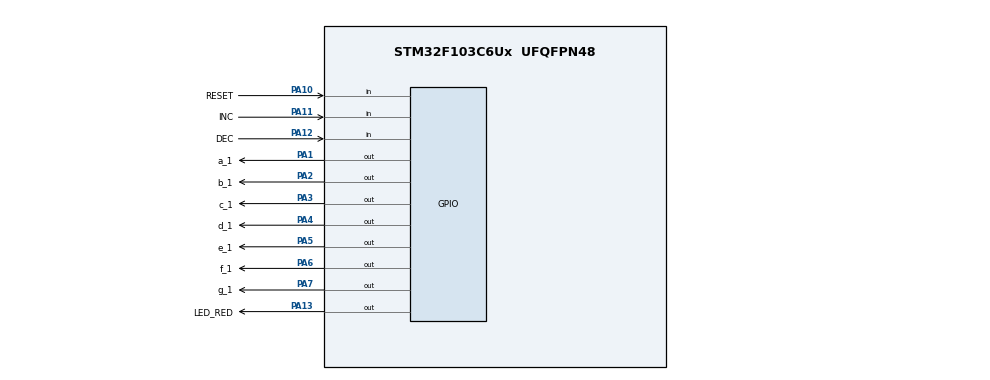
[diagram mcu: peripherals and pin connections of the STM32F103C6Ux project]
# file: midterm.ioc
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Mcu.Family=STM32F1
Mcu.Name=STM32F103C6Ux
Mcu.Package=UFQFPN48
NVIC.PriorityGroup=NVIC_PRIORITYGROUP_4
NVIC.TIM2_IRQn=true\:0\:0\:false\:false\:true\:true\:true
PA1.GPIO_Label=a_1
PA1.Signal=GPIO_Output
PA10.GPIO_Label=RESET
PA10.GPIO_PuPd=GPIO_PULLUP
PA10.Signal=GPIO_Input
PA11.GPIO_Label=INC
PA11.GPIO_PuPd=GPIO_PULLUP
PA11.Signal=GPIO_Input
PA12.GPIO_Label=DEC
PA12.GPIO_PuPd=GPIO_PULLUP
PA12.Signal=GPIO_Input
PA13.GPIO_Label=LED_RED
PA13.Signal=GPIO_Output
PA2.GPIO_Label=b_1
PA2.Signal=GPIO_Output
PA3.GPIO_Label=c_1
PA3.Signal=GPIO_Output
PA4.GPIO_Label=d_1
PA4.Signal=GPIO_Output
PA5.GPIO_Label=e_1
PA5.Signal=GPIO_Output
PA6.GPIO_Label=f_1
PA6.Signal=GPIO_Output
PA7.GPIO_Label=g_1
PA7.Signal=GPIO_Output
ProjectManager.HeapSize=0x200
ProjectManager.StackSize=0x400
ProjectManager.TargetToolchain=STM32CubeIDE
RCC.APB1Freq_Value=8000000
RCC.APB2Freq_Value=8000000
TIM2.Period=9
TIM2.Prescaler=7999
VP_SYS_VS_ND.Mode=No_Debug
VP_TIM2_VS_ClockSourceINT.Mode=Internal
board=custom

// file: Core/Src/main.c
/* USER CODE BEGIN Header */
/**
  ******************************************************************************
  * @file           : main.c
  * @brief          : Main program body
  ******************************************************************************
  * @attention
  *
  * <h2><center>&copy; Copyright (c) 2022 STMicroelectronics.
  * All rights reserved.</center></h2>
  *
  * This software component is licensed by ST under BSD 3-Clause license,
  * the "License"; You may not use this file except in compliance with the
  * License. You may obtain a copy of the License at:
  *                        opensource.org/licenses/BSD-3-Clause
  *
  ******************************************************************************
  */
/* USER CODE END Header */
#include "main.h"

TIM_HandleTypeDef htim2;

void SystemClock_Config(void);
static void MX_GPIO_Init(void);
static void MX_TIM2_Init(void);

/* USER CODE BEGIN 0 */
void display7SEG (int num, GPIO_TypeDef * GPIO_TYPE, uint16_t a_Pin, uint16_t b_Pin, uint16_t c_Pin, uint16_t d_Pin, uint16_t e_Pin, uint16_t f_Pin, uint16_t g_Pin);
int get_input();
void fsm_simple_buttons_run();
int counter = 9;
int led_timer = 100;
int input_timer = 1;
int seg_led_timer = 1000;
int input_state_0 = 0;
int input_state_1 = 0;
int input_state_2 = 0;
int input_state_3 = 0;
int long_press_timer = 300;
int delay_to_count_down_time = 1000;
/* USER CODE END 0 */

int main(void)
{

  /* MCU Configuration--------------------------------------------------------*/

  /* Reset of all peripherals, Initializes the Flash interface and the Systick. */
  HAL_Init();

  /* Configure the system clock */
  SystemClock_Config();

  /* Initialize all configured peripherals */
  MX_GPIO_Init();
  MX_TIM2_Init();
  /* USER CODE BEGIN 2 */
  HAL_TIM_Base_Start_IT(&htim2) ;
  display7SEG(counter, GPIOA, a_1_Pin, b_1_Pin, c_1_Pin, d_1_Pin, e_1_Pin, f_1_Pin, g_1_Pin);
  /* USER CODE END 2 */

  /* Infinite loop */
  /* USER CODE BEGIN WHILE */
  while (1)
  {
	 if (input_timer == 0) {
		 fsm_simple_buttons_run();
	 }
	 if (delay_to_count_down_time == 0 && counter > 0) {
		 delay_to_count_down_time = 100;
		 display7SEG(counter, GPIOA, a_1_Pin, b_1_Pin, c_1_Pin, d_1_Pin, e_1_Pin, f_1_Pin, g_1_Pin);
		 counter--;
	 }
	 if (led_timer == 0) {
		 HAL_GPIO_TogglePin(GPIOA, LED_RED_Pin);
		 led_timer = 100;
	 }
    /* USER CODE END WHILE */

  }
}

void SystemClock_Config(void)
{
  RCC_OscInitTypeDef RCC_OscInitStruct = {0};
  RCC_ClkInitTypeDef RCC_ClkInitStruct = {0};

  /** Initializes the RCC Oscillators according to the specified parameters
  * in the RCC_OscInitTypeDef structure.
  */
  RCC_OscInitStruct.OscillatorType = RCC_OSCILLATORTYPE_HSI;
  RCC_OscInitStruct.HSIState = RCC_HSI_ON;
  RCC_OscInitStruct.HSICalibrationValue = RCC_HSICALIBRATION_DEFAULT;
  RCC_OscInitStruct.PLL.PLLState = RCC_PLL_NONE;
  if (HAL_RCC_OscConfig(&RCC_OscInitStruct) != HAL_OK)
  {
    Error_Handler();
  }
  /** Initializes the CPU, AHB and APB buses clocks
  */
  RCC_ClkInitStruct.ClockType = RCC_CLOCKTYPE_HCLK|RCC_CLOCKTYPE_SYSCLK
                              |RCC_CLOCKTYPE_PCLK1|RCC_CLOCKTYPE_PCLK2;
  RCC_ClkInitStruct.SYSCLKSource = RCC_SYSCLKSOURCE_HSI;
  RCC_ClkInitStruct.AHBCLKDivider = RCC_SYSCLK_DIV1;
  RCC_ClkInitStruct.APB1CLKDivider = RCC_HCLK_DIV1;
  RCC_ClkInitStruct.APB2CLKDivider = RCC_HCLK_DIV1;

  if (HAL_RCC_ClockConfig(&RCC_ClkInitStruct, FLASH_LATENCY_0) != HAL_OK)
  {
    Error_Handler();
  }
}

static void MX_TIM2_Init(void)
{

  TIM_ClockConfigTypeDef sClockSourceConfig = {0};
  TIM_MasterConfigTypeDef sMasterConfig = {0};

  htim2.Instance = TIM2;
  htim2.Init.Prescaler = 7999;
  htim2.Init.CounterMode = TIM_COUNTERMODE_UP;
  htim2.Init.Period = 9;
  htim2.Init.ClockDivision = TIM_CLOCKDIVISION_DIV1;
  htim2.Init.AutoReloadPreload = TIM_AUTORELOAD_PRELOAD_DISABLE;
  if (HAL_TIM_Base_Init(&htim2) != HAL_OK)
  {
    Error_Handler();
  }
  sClockSourceConfig.ClockSource = TIM_CLOCKSOURCE_INTERNAL;
  if (HAL_TIM_ConfigClockSource(&htim2, &sClockSourceConfig) != HAL_OK)
  {
    Error_Handler();
  }
  sMasterConfig.MasterOutputTrigger = TIM_TRGO_RESET;
  sMasterConfig.MasterSlaveMode = TIM_MASTERSLAVEMODE_DISABLE;
  if (HAL_TIMEx_MasterConfigSynchronization(&htim2, &sMasterConfig) != HAL_OK)
  {
    Error_Handler();
  }

}

static void MX_GPIO_Init(void)
{
  GPIO_InitTypeDef GPIO_InitStruct = {0};

  /* GPIO Ports Clock Enable */
  __HAL_RCC_GPIOA_CLK_ENABLE();

  /*Configure GPIO pin Output Level */
  HAL_GPIO_WritePin(GPIOA, a_1_Pin|b_1_Pin|c_1_Pin|d_1_Pin
                          |e_1_Pin|f_1_Pin|g_1_Pin|LED_RED_Pin, GPIO_PIN_RESET);

  /*Configure GPIO pins : a_1_Pin b_1_Pin c_1_Pin d_1_Pin
                           e_1_Pin f_1_Pin g_1_Pin LED_RED_Pin */
  GPIO_InitStruct.Pin = a_1_Pin|b_1_Pin|c_1_Pin|d_1_Pin
                          |e_1_Pin|f_1_Pin|g_1_Pin|LED_RED_Pin;
  GPIO_InitStruct.Mode = GPIO_MODE_OUTPUT_PP;
  GPIO_InitStruct.Pull = GPIO_NOPULL;
  GPIO_InitStruct.Speed = GPIO_SPEED_FREQ_LOW;
  HAL_GPIO_Init(GPIOA, &GPIO_InitStruct);

  /*Configure GPIO pins : RESET_Pin INC_Pin DEC_Pin */
  GPIO_InitStruct.Pin = RESET_Pin|INC_Pin|DEC_Pin;
  GPIO_InitStruct.Mode = GPIO_MODE_INPUT;
  GPIO_InitStruct.Pull = GPIO_PULLUP;
  HAL_GPIO_Init(GPIOA, &GPIO_InitStruct);

}

/* USER CODE BEGIN 4 */
void display7SEG (int num, GPIO_TypeDef * GPIO_TYPE, uint16_t a_Pin, uint16_t b_Pin, uint16_t c_Pin, uint16_t d_Pin, uint16_t e_Pin, uint16_t f_Pin, uint16_t g_Pin){
	switch (num){
		case 0:
			HAL_GPIO_WritePin(GPIO_TYPE, a_Pin, RESET);
			HAL_GPIO_WritePin(GPIO_TYPE, b_Pin, RESET);
			HAL_GPIO_WritePin(GPIO_TYPE, c_Pin, RESET);
			HAL_GPIO_WritePin(GPIO_TYPE, d_Pin, RESET);
			HAL_GPIO_WritePin(GPIO_TYPE, e_Pin, RESET);
			HAL_GPIO_WritePin(GPIO_TYPE, f_Pin, RESET);
			HAL_GPIO_WritePin(GPIO_TYPE, g_Pin, SET);
			break;
		case 1:
			HAL_GPIO_WritePin(GPIO_TYPE, a_Pin, SET);
			HAL_GPIO_WritePin(GPIO_TYPE, b_Pin, RESET);
			HAL_GPIO_WritePin(GPIO_TYPE, c_Pin, RESET);
			HAL_GPIO_WritePin(GPIO_TYPE, d_Pin, SET);
			HAL_GPIO_WritePin(GPIO_TYPE, e_Pin, SET);
			HAL_GPIO_WritePin(GPIO_TYPE, f_Pin, SET);
			HAL_GPIO_WritePin(GPIO_TYPE, g_Pin, SET);
			break;
		case 2:
			HAL_GPIO_WritePin(GPIO_TYPE, a_Pin, RESET);
			HAL_GPIO_WritePin(GPIO_TYPE, b_Pin, RESET);
			HAL_GPIO_WritePin(GPIO_TYPE, c_Pin, SET);
			HAL_GPIO_WritePin(GPIO_TYPE, d_Pin, RESET);
			HAL_GPIO_WritePin(GPIO_TYPE, e_Pin, RESET);
			HAL_GPIO_WritePin(GPIO_TYPE, f_Pin, SET);
			HAL_GPIO_WritePin(GPIO_TYPE, g_Pin, RESET);
			break;
		case 3:
			HAL_GPIO_WritePin(GPIO_TYPE, a_Pin, RESET);
			HAL_GPIO_WritePin(GPIO_TYPE, b_Pin, RESET);
			HAL_GPIO_WritePin(GPIO_TYPE, c_Pin, RESET);
			HAL_GPIO_WritePin(GPIO_TYPE, d_Pin, RESET);
			HAL_GPIO_WritePin(GPIO_TYPE, e_Pin, SET);
			HAL_GPIO_WritePin(GPIO_TYPE, f_Pin, SET);
			HAL_GPIO_WritePin(GPIO_TYPE, g_Pin, RESET);
			break;
		case 4:
			HAL_GPIO_WritePin(GPIO_TYPE, a_Pin, SET);
			HAL_GPIO_WritePin(GPIO_TYPE, b_Pin, RESET);
			HAL_GPIO_WritePin(GPIO_TYPE, c_Pin, RESET);
			HAL_GPIO_WritePin(GPIO_TYPE, d_Pin, SET);
			HAL_GPIO_WritePin(GPIO_TYPE, e_Pin, SET);
			HAL_GPIO_WritePin(GPIO_TYPE, f_Pin, RESET);
			HAL_GPIO_WritePin(GPIO_TYPE, g_Pin, RESET);
			break;
		case 5:
			HAL_GPIO_WritePin(GPIO_TYPE, a_Pin, RESET);
			HAL_GPIO_WritePin(GPIO_TYPE, b_Pin, SET);
			HAL_GPIO_WritePin(GPIO_TYPE, c_Pin, RESET);
			HAL_GPIO_WritePin(GPIO_TYPE, d_Pin, RESET);
			HAL_GPIO_WritePin(GPIO_TYPE, e_Pin, SET);
			HAL_GPIO_WritePin(GPIO_TYPE, f_Pin, RESET);
			HAL_GPIO_WritePin(GPIO_TYPE, g_Pin, RESET);
			break;
		case 6:
			HAL_GPIO_WritePin(GPIO_TYPE, a_Pin, RESET);
			HAL_GPIO_WritePin(GPIO_TYPE, b_Pin, SET);
			HAL_GPIO_WritePin(GPIO_TYPE, c_Pin, RESET);
			HAL_GPIO_WritePin(GPIO_TYPE, d_Pin, RESET);
			HAL_GPIO_WritePin(GPIO_TYPE, e_Pin, RESET);
			HAL_GPIO_WritePin(GPIO_TYPE, f_Pin, RESET);
			HAL_GPIO_WritePin(GPIO_TYPE, g_Pin, RESET);
			break;
		case 7:
			HAL_GPIO_WritePin(GPIO_TYPE, a_Pin, RESET);
			HAL_GPIO_WritePin(GPIO_TYPE, b_Pin, RESET);
			HAL_GPIO_WritePin(GPIO_TYPE, c_Pin, RESET);
			HAL_GPIO_WritePin(GPIO_TYPE, d_Pin, SET);
			HAL_GPIO_WritePin(GPIO_TYPE, e_Pin, SET);
			HAL_GPIO_WritePin(GPIO_TYPE, f_Pin, SET);
			HAL_GPIO_WritePin(GPIO_TYPE, g_Pin, SET);
			break;
		case 8:
			HAL_GPIO_WritePin(GPIO_TYPE, a_Pin, RESET);
			HAL_GPIO_WritePin(GPIO_TYPE, b_Pin, RESET);
			HAL_GPIO_WritePin(GPIO_TYPE, c_Pin, RESET);
			HAL_GPIO_WritePin(GPIO_TYPE, d_Pin, RESET);
			HAL_GPIO_WritePin(GPIO_TYPE, e_Pin, RESET);
			HAL_GPIO_WritePin(GPIO_TYPE, f_Pin, RESET);
			HAL_GPIO_WritePin(GPIO_TYPE, g_Pin, RESET);
			break;
		case 9:
			HAL_GPIO_WritePin(GPIO_TYPE, a_Pin, RESET);
			HAL_GPIO_WritePin(GPIO_TYPE, b_Pin, RESET);
			HAL_GPIO_WritePin(GPIO_TYPE, c_Pin, RESET);
			HAL_GPIO_WritePin(GPIO_TYPE, d_Pin, RESET);
			HAL_GPIO_WritePin(GPIO_TYPE, e_Pin, SET);
			HAL_GPIO_WritePin(GPIO_TYPE, f_Pin, RESET);
			HAL_GPIO_WritePin(GPIO_TYPE, g_Pin, RESET);
			break;
		default:
			break;
	}
}
void HAL_TIM_PeriodElapsedCallback(TIM_HandleTypeDef *htim) {
	// call every 10ms
	input_timer--;
	led_timer--;
	delay_to_count_down_time--;
}
int get_input() {
	if (HAL_GPIO_ReadPin(RESET_GPIO_Port, RESET_Pin) == GPIO_PIN_RESET) {
		return 1;
	}
	if (HAL_GPIO_ReadPin(INC_GPIO_Port, INC_Pin) == GPIO_PIN_RESET) {
		return 2;
	}
	if (HAL_GPIO_ReadPin(DEC_GPIO_Port, DEC_Pin) == GPIO_PIN_RESET) {
		return 3;
	}
	return 0;
}
void fsm_simple_buttons_run() {
	 input_state_0 = input_state_1;
	 input_state_1 = input_state_2;
	 input_state_2 = get_input();

	 if (input_state_0 == input_state_1 && input_state_1 == input_state_2) {
		 if (input_state_3 != input_state_2) {
			 input_state_3 = input_state_2;
			 long_press_timer = 300;
			 if (input_state_2 == 1) {
				 counter = 0;
				 display7SEG(counter, GPIOA, a_1_Pin, b_1_Pin, c_1_Pin, d_1_Pin, e_1_Pin, f_1_Pin, g_1_Pin);
				 delay_to_count_down_time = 1000;
			 }
			 if (input_state_2 == 2) {
				 if (counter == 9) {
				 	counter = 0;
			     }
			     else {
				 	counter++;
			     }
				 display7SEG(counter, GPIOA, a_1_Pin, b_1_Pin, c_1_Pin, d_1_Pin, e_1_Pin, f_1_Pin, g_1_Pin);
				 delay_to_count_down_time = 1000;
			 }
			 if (input_state_2 == 3) {
				 if (counter == 0) {
					 counter = 9;
				 }
				 else {
					 counter--;
				 }
				 display7SEG(counter, GPIOA, a_1_Pin, b_1_Pin, c_1_Pin, d_1_Pin, e_1_Pin, f_1_Pin, g_1_Pin);
				 delay_to_count_down_time = 1000;
			 }
		 }
	 	 else {
		 	 long_press_timer--;
		 	 if (long_press_timer == 0) {
			 	 long_press_timer = 100;
			 	 if (input_state_2 == 3) {
					 if (counter == 0) {
						 counter = 9;
					 }
					 else {
						 counter--;
					 }
					 display7SEG(counter, GPIOA, a_1_Pin, b_1_Pin, c_1_Pin, d_1_Pin, e_1_Pin, f_1_Pin, g_1_Pin);
					 delay_to_count_down_time = 1000;
			 	 }
			 	 if (input_state_2 == 1) {
			 		 counter = 0;
			 		 display7SEG(counter, GPIOA, a_1_Pin, b_1_Pin, c_1_Pin, d_1_Pin, e_1_Pin, f_1_Pin, g_1_Pin);
			 		 delay_to_count_down_time = 1000;
			 	 }
			 	 if (input_state_2 == 2) {
			 		 if (counter == 9) {
			 			 counter = 0;
			 		 }
			 		 else {
			 			 counter++;
			 		 }
			 		 display7SEG(counter, GPIOA, a_1_Pin, b_1_Pin, c_1_Pin, d_1_Pin, e_1_Pin, f_1_Pin, g_1_Pin);
			 		 delay_to_count_down_time = 1000;
			 	 }
		 	 }
	 	 }
	 }
	 input_timer = 1;
}

/* USER CODE END 4 */

void Error_Handler(void)
{
  __disable_irq();
  while (1)
  {
  }
}

/************************ (C) COPYRIGHT STMicroelectronics *****END OF FILE****/
